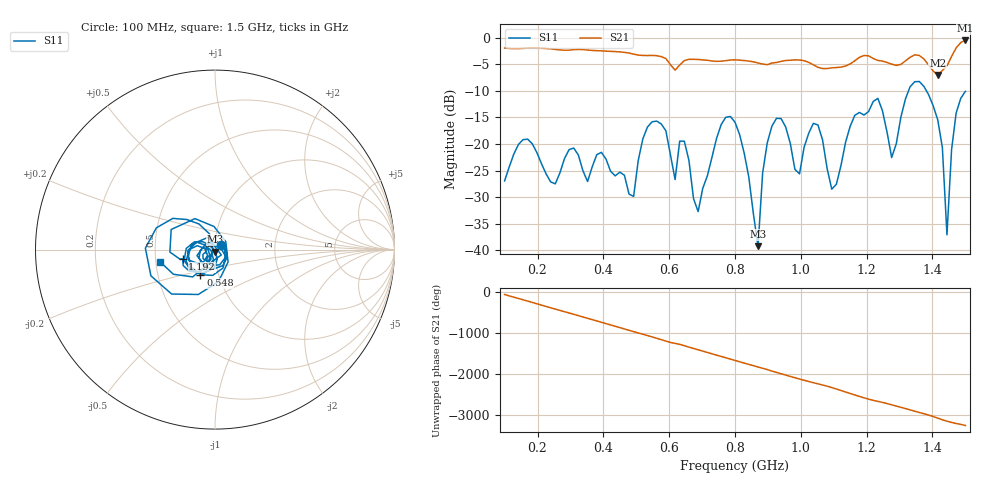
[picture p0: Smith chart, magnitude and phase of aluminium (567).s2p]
! NanoVNA-App
! Date: 2025-09-25 14:59:41
! Start: 100MHz Stop: 1,5GHz Points: 101
! S-Parameter data: F S11 S21 S12 S22
# Hz S RI R 50
!  Frequency  S11_Real  S11_Imag  S21_Real  S21_Imag  S12_Real  S12_Imag  S22_Real  S22_Imag
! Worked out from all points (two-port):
!   101 points, 100 MHz to 1.5 GHz, reference 50 ohm
!   highest |S21| = -0.49 dB at 1.5 GHz (marker M1); lowest = -7.0 dB at 1.416 GHz (marker M2)
!   |S21| within 3 dB of the highest: start of sweep to 572.6 MHz; 1.458 GHz to end of sweep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
!   lowest |S11| = -39.3 dB at 870 MHz (marker M3), VSWR 1.02, Z = 50.2 - j1.08 ohm
!   |S11| at or under -10 dB: start of sweep to 1.327 GHz; 1.382 GHz to end of sweep
!   S12 and S22 are empty: the file has one direction only
!   S11 on the Smith chart (normalised r, x): 100 MHz: 1.07, +0.06; 548 MHz: 0.82, -0.24; 1.192 GHz: 0.69, -0.07; 1.5 GHz: 0.53, -0.08
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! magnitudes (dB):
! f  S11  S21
! 100 MHz  -27.0  -1.9
! 156 MHz  -19.2  -2.0
! 338 MHz  -25.0  -2.2
! 492 MHz  -29.9  -3.1
! 548 MHz  -15.8  -3.3
! 576 MHz  -16.2  -3.5
! 646 MHz  -19.5  -4.3
! 688 MHz  -32.7  -4.1
! 800 MHz  -15.9  -4.1
! 870 MHz  -39.3  -4.7
! 912 MHz  -16.7  -4.7
! 996 MHz  -25.6  -4.2
! 1.038 GHz  -16.1  -5.1
! 1.094 GHz  -28.5  -5.7
! 1.192 GHz  -14.5  -3.3
! 1.234 GHz  -11.4  -4.2
! 1.276 GHz  -22.6  -4.9
! 1.346 GHz  -8.3  -3.2
! 1.416 GHz  -15.4  -7.0
! 1.444 GHz  -37.1  -5.3
! 1.472 GHz  -14.1  -1.9
! 1.5 GHz  -10.1  -0.5
